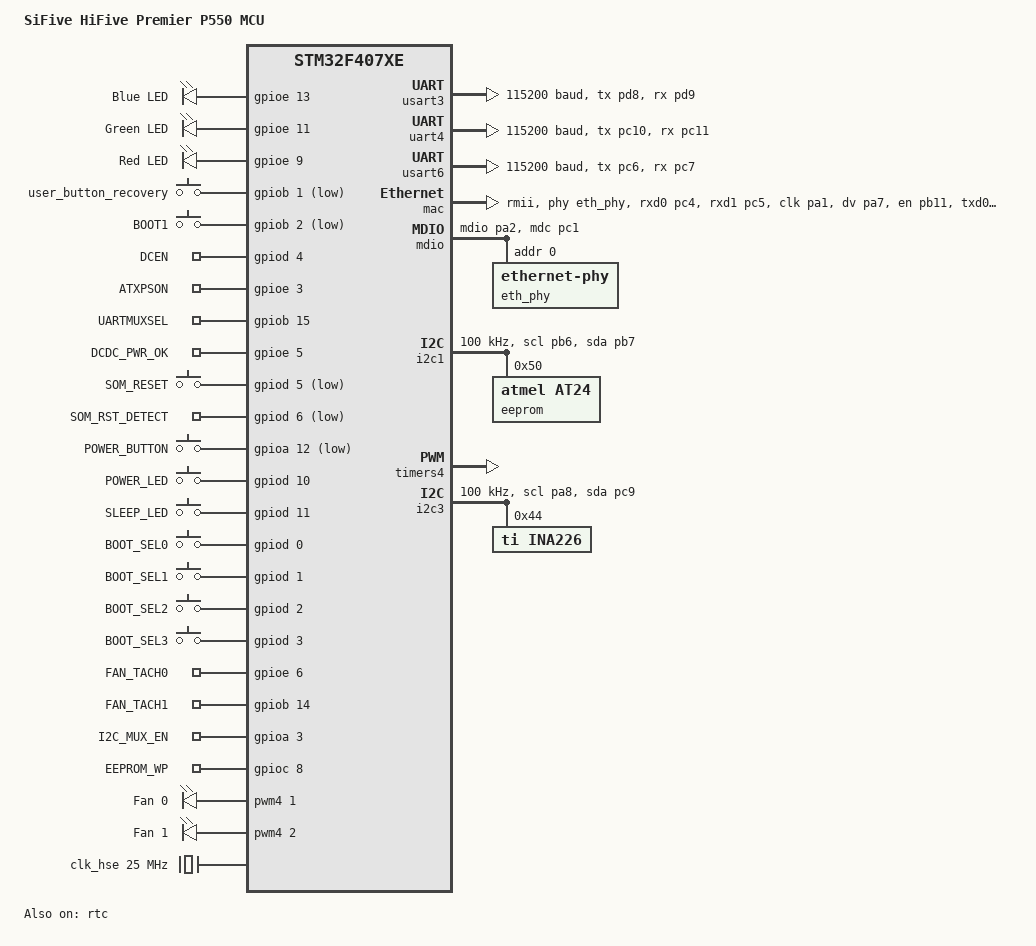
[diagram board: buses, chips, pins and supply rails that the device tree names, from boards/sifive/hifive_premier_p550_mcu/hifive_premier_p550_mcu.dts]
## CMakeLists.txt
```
# SPDX-FileCopyrightText: © 2025-2026 Tenstorrent USA, Inc.
# SPDX-License-Identifier: Apache-2.0

list(APPEND BOARD_ROOT ${CMAKE_CURRENT_SOURCE_DIR})

cmake_minimum_required(VERSION 3.20.0)
find_package(Zephyr REQUIRED HINTS $ENV{ZEPHYR_BASE})
project(wallabmc)

if(BOARD STREQUAL "qemu_cortex_m3")
	if(SYSBUILD)
		message(FATAL_ERROR "qemu_cortex_m3 must NOT be built with sysbuild (e.g., no --sysbuild argument)")
	endif()
else()
	if(NOT SYSBUILD)
		message(FATAL_ERROR "Hardware boards must be built with sysbuild (e.g., --sysbuild argument)")
	endif()
endif()

target_include_directories(app PRIVATE src)

zephyr_linker_sources(SECTIONS sections-rom.ld)
zephyr_linker_section_ifdef(CONFIG_HTTP_SERVER
  NAME http_resource_desc_web_https_service
  KVMA RAM_REGION GROUP RODATA_REGION
)
zephyr_linker_section_ifdef(CONFIG_HTTP_SERVER
  NAME http_resource_desc_web_http_service
  KVMA RAM_REGION GROUP RODATA_REGION
)

# Used for webserver resources
set(gen_dir ${ZEPHYR_BINARY_DIR}/include/generated/)

# Generate git SHA header at build time so it stays current across commits
find_program(BASH_EXECUTABLE bash)
set(git_sha_header ${gen_dir}/git_sha.h)
add_custom_target(app_git_sha ALL
	COMMAND ${CMAKE_COMMAND}
		-DBASH_EXECUTABLE=${BASH_EXECUTABLE}
		-DSOURCE_DIR=${CMAKE_CURRENT_SOURCE_DIR}
		-DOUTPUT_FILE=${git_sha_header}
		-P ${CMAKE_CURRENT_SOURCE_DIR}/cmake/gen_git_sha.cmake
	BYPRODUCTS ${git_sha_header}
	COMMENT "Generating git SHA header"
)
add_dependencies(app app_git_sha)

target_sources(app PRIVATE
	src/config.c
	src/dhcp.c
	src/main.c
	src/net.c
	src/power.c
	src/synch.c
	src/vpd.c
)

target_sources_ifdef(CONFIG_RTC app PRIVATE
	src/rtc.c
)

target_sources_ifdef(CONFIG_APP_SENSORS app PRIVATE
	src/sensors.c
)

target_sources_ifdef(CONFIG_APP_NTP app PRIVATE
	src/ntp.c
)

target_sources_ifdef(CONFIG_HTTP_SERVER app PRIVATE
	src/http.c
)

target_sources_ifdef(CONFIG_APP_WEB app PRIVATE
	src/web.c
)

target_sources_ifdef(CONFIG_JTAG app PRIVATE
	src/jtag.c
)

target_sources_ifdef(CONFIG_APP_CONSOLE_LOGGER app PRIVATE
	src/console_logger.c
)

target_sources_ifdef(CONFIG_CONSOLE_BRIDGE app PRIVATE
	src/console_bridge.c
)

target_sources_ifdef(CONFIG_APP_WEB_TERMINAL_HOST_SERIAL app PRIVATE
	src/console_bridge_ws.c
)

target_sources_ifdef(CONFIG_PERSISTENT_STORAGE app PRIVATE
	src/button.c
	src/fs.c
)

target_sources_ifdef(CONFIG_FAN_CONTROL app PRIVATE
	src/fan.c
)

target_sources_ifdef(CONFIG_POWER_MONITOR app PRIVATE
	src/power_monitor.c
)

target_sources_ifdef(CONFIG_REDFISH app PRIVATE
	src/redfish.c
)

if(CONFIG_REDFISH)
  foreach(redfish_resource
    redfish_metadata.xml
  )
    generate_inc_file_for_target(app
      static_web_resources/${redfish_resource}
      ${gen_dir}/${redfish_resource}.gz.inc
      --gzip
    )
  endforeach()
endif()

if(CONFIG_APP_WEB)
  foreach(web_resource
    index.html
  )
    generate_inc_file_for_target(app
      static_web_resources/${web_resource}
      ${gen_dir}/${web_resource}.gz.inc
      --gzip
    )
  endforeach()

  foreach(web_resource
    logo.png
    favicon.png
  )
    generate_inc_file_for_target(app
      static_web_resources/${web_resource}
      ${gen_dir}/${web_resource}.inc
    )
  endforeach()
endif()

if(CONFIG_APP_CRYPTO)
  find_program(OPENSSL_EXECUTABLE openssl)
  if(NOT OPENSSL_EXECUTABLE)
    message(FATAL_ERROR "CONFIG_APP_CRYPTO requires openssl in PATH")
  endif()
  find_program(BASH_EXECUTABLE bash)
  if(NOT BASH_EXECUTABLE)
    message(FATAL_ERROR "Unable to find bash, needed to generate certificates")
  endif()

  set(generated_certs_dir ${CMAKE_CURRENT_BINARY_DIR}/generated_certs)
  set(generated_server_cert_der ${generated_certs_dir}/server_cert.der)
  set(generated_server_privkey_der ${generated_certs_dir}/server_privkey.der)

  add_custom_command(
    OUTPUT
      ${generated_server_cert_der}
      ${generated_server_privkey_der}
    COMMAND ${CMAKE_COMMAND} -E make_directory ${generated_certs_dir}
    COMMAND ${BASH_EXECUTABLE} ${CMAKE_CURRENT_SOURCE_DIR}/src/certs/gen_ca_cert.sh ${OPENSSL_EXECUTABLE}
    COMMAND ${BASH_EXECUTABLE} ${CMAKE_CURRENT_SOURCE_DIR}/src/certs/gen_server_cert.sh ${OPENSSL_EXECUTABLE}
    WORKING_DIRECTORY ${generated_certs_dir}
    DEPENDS
      ${CMAKE_CURRENT_SOURCE_DIR}/src/certs/gen_ca_cert.sh
      ${CMAKE_CURRENT_SOURCE_DIR}/src/certs/gen_server_cert.sh
    BYPRODUCTS
      ${generated_certs_dir}/ca_cert.pem
      ${generated_certs_dir}/ca_privkey.pem
      ${generated_certs_dir}/ca.srl
      ${generated_certs_dir}/server_cert.pem
      ${generated_certs_dir}/server_privkey.pem
      ${generated_certs_dir}/server_csr.pem
      ${generated_certs_dir}/server_csr.ext
    COMMENT "Generating TLS certificates for APP_CRYPTO"
    VERBATIM
  )

  add_custom_target(app_generate_certs
    DEPENDS
      ${generated_server_cert_der}
      ${generated_server_privkey_der}
  )
  add_dependencies(app app_generate_certs)

  foreach(inc_file
    server_cert.der
    server_privkey.der
  )
    generate_inc_file_for_target(app
      ${generated_certs_dir}/${inc_file}
      ${gen_dir}/${inc_file}.inc
    )
  endforeach()
endif()

if(CONFIG_PERSISTENT_STORAGE)
  if(CONFIG_CODE_DATA_RELOCATION_SRAM AND CONFIG_SOC_FLASH_STM32)
    include(${ZEPHYR_BASE}/cmake/modules/extensions.cmake)
    FILE(GLOB flash_driver ${ZEPHYR_BASE}/drivers/flash/flash_stm32*.c)
    zephyr_code_relocate(FILES ${flash_driver} LOCATION RAM)
  else()
    message(FATAL_ERROR "flash storage handling is not defined for this platform")
  endif()
endif()
```

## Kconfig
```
# SPDX-FileCopyrightText: © 2025-2026 Tenstorrent USA, Inc.
# SPDX-License-Identifier: Apache-2.0

mainmenu "WallaBMC"

# This UUID should not be changed, it is a namespace from which
# to generate other UUIDs for WallaBMC.
config WALLABMC_UUID_NS
	string
	default "6ae4c3c7-fff0-472a-a77c-6f3f5a09ee7c"

config APP_DNS_RESOLVE
	bool
	select REQUIRES_FULL_LIBC
	select NET_SOCKETS_SERVICE
	select DNS_RESOLVER
	select NET_DHCPV4_OPTION_DNS_ADDRESS
	# If DHCP is not enabled, then need these. For now, DNS/NTP
	# requires DHCP. Could make DNS configurable.
	select DNS_SERVER_IP_ADDRESSES
	select DNS_RECONFIGURE_CLEANUP

config DNS_SERVER1
	string
	default "1.1.1.1" if APP_DNS_RESOLVE

config APP_NTP
	bool "NTP time synchronisation"
	select SNTP
	select APP_DNS_RESOLVE
	# Could these options reduce our code?
	#CONFIG_NET_CONFIG_CLOCK_SNTP_INIT=y
	#CONFIG_NET_CONFIG_CLOCK_SNTP_SET_RTC=y
	default y

config MAIN_STACK_SIZE
	int
	default 4096 if PERSISTENT_STORAGE

config APP_CRYPTO
	bool
	select NET_SOCKETS_SOCKOPT_TLS
	select MBEDTLS
	select MBEDTLS_ENABLE_HEAP
	select MBEDTLS_SSL_PROTO_TLS1_2
	select MBEDTLS_SSL_ALPN
	# XXX: Should HAVE_TIME_DATE be enabled? Test if it prevents HTTPS
	# connections if the RTC is wrong, in which case it might not be
	# feasible if we need webui to set time.
	# select MBEDTLS_HAVE_TIME_DATE if RTC

config APP_CRYPTO_TLS13
	bool
	default y
	depends on APP_CRYPTO && !APP_CRYPTO_PSK
	select MBEDTLS_SSL_PROTO_TLS1_3
        select MBEDTLS_SSL_TLS1_3_KEY_EXCHANGE_MODE_EPHEMERAL_ENABLED
	select MBEDTLS_SSL_TLS1_3_KEY_EXCHANGE_MODE_PSK_EPHEMERAL_ENABLED
	select MBEDTLS_SSL_EARLY_DATA
        select MBEDTLS_SSL_SESSION_TICKETS
	select PSA_WANT_ALG_HKDF
	select PSA_WANT_ALG_HKDF_EXTRACT
	select PSA_WANT_ALG_HKDF_EXPAND

config APP_CRYPTO_PUBLIC_KEY
	bool
	# Basic ciphers
	select MBEDTLS_CIPHERSUITE_TLS_ECDHE_ECDSA_WITH_AES_128_GCM_SHA256
	select PSA_WANT_ALG_SHA_256
	# Plus SHA384
	select PSA_WANT_ALG_SHA_384
	# Plus CHACHA20
	select PSA_WANT_ALG_CHACHA20_POLY1305
	select PSA_WANT_KEY_TYPE_CHACHA20
	# Required for websocket
	select PSA_WANT_ALG_SHA_1 if HTTP_SERVER_WEBSOCKET

# PSK can only use TLS1.2 (supporting 1.3 seems to require pulling in
# so much that it is not worthwhile).
config APP_CRYPTO_PSK
	bool
	select MBEDTLS_KEY_EXCHANGE_PSK_ENABLED # TLS1.2
	select MBEDTLS_CIPHERSUITE_TLS_PSK_WITH_AES_128_GCM_SHA256
	select MBEDTLS_KEY_EXCHANGE_RSA_PSK_ENABLED
	select MBEDTLS_RSA_C
	select MBEDTLS_PKCS1_V15
	select PSA_WANT_KEY_TYPE_RSA_KEY_PAIR_IMPORT
	select PSA_WANT_KEY_TYPE_RSA_KEY_PAIR_EXPORT
	select PSA_WANT_KEY_TYPE_RSA_KEY_PAIR_GENERATE

config APP_CRYPTO_DEBUG
	bool "crypto debug"
	default n
	select MBEDTLS_DEBUG
	select MBEDTLS_MEMORY_DEBUG
	select NET_SOCKETS_TLS_LOG_LEVEL_DBG

config MBEDTLS_DEBUG_LEVEL
	int
	depends on APP_CRYPTO_DEBUG
	default 1

config MBEDTLS_HEAP_SIZE
	int
	depends on APP_CRYPTO
	default 49152

config NET_PKT_RX_COUNT
	int
	depends on APP_CRYPTO
	default 32

config NET_PKT_TX_COUNT
	int
	depends on APP_CRYPTO
	default 32

config NET_BUF_RX_COUNT
	int
	default 96 if APP_CRYPTO
	default 64

config NET_BUF_TX_COUNT
	int
	default 96 if APP_CRYPTO
	default 64

config NET_SOCKETS_TLS_MAX_CONTEXTS
	int
	depends on APP_CRYPTO
	default 6

# The Kconfig comments for this option say TLS standards require
# 16k size, but this requires several 16K allocations each for
# send and recv on the heap so it's too large. Apparently browsers
# negotiate smaller sizes, so 1500 should be okay there. Redfish
# and curl with auth headers seem to require more (4096 works).
# may require more?
config MBEDTLS_SSL_MAX_CONTENT_LEN
	int
	depends on APP_CRYPTO
	default 4096

config APP_HTTPS
	bool "HTTPS support for web and redfish"
	default y
	depends on REDFISH || APP_WEB
	select HTTP_SERVER_TLS_USE_ALPN
	select APP_CRYPTO

config APP_HTTPS_PUBLIC_KEY
	bool "HTTPS public key support"
	default y
	depends on APP_HTTPS
	select APP_CRYPTO_PUBLIC_KEY

config APP_HTTPS_PSK
	bool "HTTPS PSK support"
	default n
	depends on APP_HTTPS
	select APP_CRYPTO_PSK

config APP_BMC_UUID
	bool "BMC UUID based on HWINFO device ID"
	select MBEDTLS
	select MBEDTLS_PSA_CRYPTO_C
	select PSA_WANT_ALG_SHA_1
	select UUID
	select UUID_V5
	select HWINFO

config APP_SENSORS
	bool "BMC Sensors (temperature)"
	select SENSOR
	select ADC

config REDFISH
	bool "Redfish server"
	default y
	select HTTP_SERVER
	select HTTP_SERVER_CAPTURE_HEADERS
	select JSON_LIBRARY
	select APP_BMC_UUID
	select BASE64

if REDFISH

config REDFISH_SYSTEM_PRODUCT_NAME
	string "Redfish system product / board display name"
	default "WallaBMC Board"
	help
	  Shown as System Name in Redfish and in the dashboard System Overview.

config REDFISH_SYSTEM_MANUFACTURER
	string "Redfish system manufacturer"
	default "WallaBMC"

config REDFISH_SYSTEM_MODEL
	string "Redfish system model"
	default "Generic"

config REDFISH_SYSTEM_PROCESSOR_MODEL
	string "Redfish processor summary model"
	default "N/A"

config REDFISH_SYSTEM_PROCESSOR_COUNT
	int "Redfish processor summary count"
	default 1

config REDFISH_SYSTEM_MEMORY_GIB
	int "Redfish memory summary total (GiB)"
	default 0
	help
	  Total system memory in GiB for Redfish MemorySummary. 0 shows as N/A.

config HTTP_SERVER_MAX_HEADER_LEN
	int
	default 48 # Basic auth header + 15 character password is 34 characters

endif # REDFISH

config HTTP_SERVER_NUM_SERVICES
	int
	default 2 if APP_HTTPS # default 1 (listen on just 80)

config HTTP_SERVER_MAX_CLIENTS
	int
	default 8 if APP_WEB

config APP_WEB
	bool "Web server"
	default y
	select HTTP_SERVER
	select REDFISH

config APP_WEB_TERMINAL
	bool "Websocket consoles and webui terminal emulator"
	default y
	select APP_WEB
	select HTTP_SERVER_WEBSOCKET
	# WS auth protocol requires these hashes
	select BASE64
	select MBEDTLS_SHA1

config APP_WEB_TERMINAL_BMC_SHELL
	bool "Zephyr shell websocket and webui terminal"
	default y
	depends on APP_WEB_TERMINAL
	select SHELL
	select SHELL_BACKEND_WEBSOCKET
	select LOG_BACKEND_WS
	select LOG_BACKEND_WS_AUTOSTART

config APP_WEB_TERMINAL_HOST_SERIAL
	bool "Host serial websocket and webui terminal"
	default y
	select APP_CONSOLE_LOGGER
	depends on APP_WEB_TERMINAL

if APP_WEB_TERMINAL_HOST_SERIAL
config CONSOLE_BRIDGE_WS_STACK_SIZE
	int
	default 4096 if APP_HTTPS
	default 2048

config CONSOLE_BRIDGE_WS_PRIORITY
	int
	default 5
endif

config SHELL_WEBSOCKET_ENDPOINT_URL
	string
	depends on SHELL_BACKEND_WEBSOCKET
	default "console/bmc"

config DEFAULT_ADMIN_PASSWORD
	string "Default admin password"
	default "$(shell,openssl rand -base64 12 | head -c 15)"

config SYSTEM_WORKQUEUE_STACK_SIZE
	int
	depends on HTTP_SERVER_WEBSOCKET
	default 2560 if APP_HTTPS
	default 1536

# WS log backend uses lot of stack
config LOG_PROCESS_THREAD_STACK_SIZE
	int
	depends on LOG_BACKEND_WS
	default 2560

config NET_TCP_MAX_RECV_WINDOW_SIZE
	int
	default 20480

# Increase retry and timeout limits
config NET_TCP_INIT_RETRANSMISSION_TIMEOUT
	int
	default 500

config NET_TCP_RETRY_COUNT
	int
	default 10

config SHELL_STACK_SIZE
	int
	depends on SHELL_BACKEND_WEBSOCKET
	default 3072

config HTTP_SERVER_STACK_SIZE
	int
	depends on LOG_BACKEND_WS
	default 4096

config NET_SOCKETS_SERVICE_STACK_SIZE
	int
	default 3072 if APP_CRYPTO
	default 1536

config NET_MAX_CONTEXTS
	int
	depends on HTTP_SERVER
	default 12

config NET_MAX_CONN
	int
	depends on HTTP_SERVER
	default 16

config ZVFS_EVENTFD_MAX
	int
	depends on HTTP_SERVER
	default 4

config ZVFS_POLL_MAX
	int
	depends on HTTP_SERVER
	default 8

config PERSISTENT_STORAGE
	bool "Persistent storage for config"
	default n
	# Enable Flash and Flash Map to access memory
	select FLASH
	select FLASH_MAP
	# select FLASH_SHELL if SHELL # ~4kB flash
	# Writing internal flash that is used for XIP requires
	# that the flash driver is relocated into RAM.
	select CODE_DATA_RELOCATION_SRAM
	# XXX: May need to enable these, or disable IRQs in the flash
	# erase and program functions while flash is being written.
	# select SRAM_VECTOR_TABLE
	# select SRAM_SW_ISR_TABLE
	# select DEVICE_MUTABLE
	# Enable NVS key-value system
	select NVS
	select NVS_INIT_BAD_MEMORY_REGION # Do not require erased flash

config REBOOT
	bool
	default y

config POWEROFF
	bool
	default y if HAS_POWEROFF

config JTAG
	bool "JTAG support"
	depends on $(dt_path_enabled,/jtag)
	default y

if JTAG

config JTAG_DAEMON_STACK_SIZE
	int "JTAG daemon stack size"
	default 1024

config JTAG_DAEMON_PRIORITY
	int "JTAG daemon priority"
	default 5

endif

# use `kernel thread stack` shell command
config APP_STACK_DEBUG
	bool
	default n
	select THREAD_NAME
	select THREAD_ANALYZER
	select THREAD_ANALYZER_RUN_UNLOCKED

config APP_CONSOLE_LOGGER
	bool "Console logger (capture host console uart)"
	default y
	select SERIAL
	select SERIAL_SUPPORT_ASYNC
	select UART_ASYNC_API

if APP_CONSOLE_LOGGER
config APP_CONSOLE_LOG_SIZE
	int "Console log size"
	range 64 65536
	default 2048
endif

config CONSOLE_BRIDGE
	bool "Console bridge (host console to TCP port 22)"
	default y
	depends on APP_CONSOLE_LOGGER

if CONSOLE_BRIDGE

config CONSOLE_BRIDGE_STACK_SIZE
	int "Console bridge daemon stack size"
	default 1024

config CONSOLE_BRIDGE_PRIORITY
	int "Console bridge daemon priority"
	default 5

endif

menu "Hardware management"

rsource "src/Kconfig.power"
rsource "src/Kconfig.fan"

endmenu

source "Kconfig.zephyr"
```

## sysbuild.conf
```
SB_CONFIG_BOOTLOADER_MCUBOOT=y
SB_CONFIG_MCUBOOT_MODE_SINGLE_APP=y
```

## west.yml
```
manifest:
  remotes:
    - name: zephyr
      url-base: https://github.com/zephyrproject-rtos

  projects:
    - name: zephyr
      remote: zephyr
      revision: v4.4.1
      import: true

  self:
    path: wallabmc
```

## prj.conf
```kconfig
# Respect flash partition layout
CONFIG_USE_DT_CODE_PARTITION=y

# Kernel options
CONFIG_BOOT_BANNER=n # Do our own banner
CONFIG_EARLY_CONSOLE=y
CONFIG_INIT_STACKS=y

CONFIG_POSIX_API=y

# Net debug
#CONFIG_NET_SOCKETS_LOG_LEVEL_DBG=y
#CONFIG_SNTP_LOG_LEVEL_DBG=y
#CONFIG_NET_LOG=y

CONFIG_RTC=y

# Logging
CONFIG_LOG=y
#CONFIG_LOG_DEFAULT_LEVEL=0
CONFIG_LOG_PRINTK=n
# CONFIG_NET_LOG=y # ~10kB flash
CONFIG_PHY_LOG_LEVEL_WRN=y

# Generic networking options
CONFIG_NETWORKING=y
CONFIG_NET_IPV4=y
CONFIG_NET_IPV6=n
CONFIG_NET_ARP=y
CONFIG_NET_UDP=y
CONFIG_NET_TCP=y

# IP address options
# 2 addresses so we can have a DHCP and an overridable static */
CONFIG_NET_CONFIG_AUTO_INIT=n
CONFIG_NET_IF_UNICAST_IPV4_ADDR_COUNT=2
CONFIG_NET_DHCPV4=y
CONFIG_NET_DHCPV4_OPTION_CALLBACKS=y
#CONFIG_DNS_RESOLVER=y # This makes telnet console hang?
# Hostname will be registered with DHCP so if the network supports it,
# it will be the DNS name too. UNIQUE=y appends a random UUID to the
# end of HOSTNAME, you will need to watch the console to get this, or
# give yourself a unique hostname.
CONFIG_NET_CONFIG_SETTINGS=y
CONFIG_NET_HOSTNAME_ENABLE=y
CONFIG_NET_HOSTNAME="wallabmc"
# Don't want to append a unique string because that makes it hard to
# find.
#CONFIG_NET_HOSTNAME_UNIQUE=y
# default / no-DHCP IP address
#CONFIG_NET_CONFIG_MY_IPV4_ADDR="192.168.2.55"

# `date set` does not set the RTC which would be confusing, so
# disable it. We supply `bmc time` commands.
CONFIG_DATE_SHELL=n
# local/network shell
CONFIG_KERNEL_SHELL=n # ~5kB flash
#CONFIG_SHELL_TAB=y
#CONFIG_NET_SHELL=y # ~40kB flash

# GPIO options
CONFIG_GPIO=y

### Storage ###
CONFIG_PERSISTENT_STORAGE=y

# Websocket default prompt (does not enable anything on it's own)
CONFIG_SHELL_WEBSOCKET_PROMPT="bmc:~$ "
```

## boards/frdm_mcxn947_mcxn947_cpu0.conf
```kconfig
# Gentoo mode
CONFIG_SPEED_OPTIMIZATIONS=y

# TODO: no board-specific persistent storage backend yet (internal flash
# self-write requires driver relocation like the STM32 port has, or NVS
# could target the external W25Q64 QSPI NOR flash instead). Disabled for
# now; config.c/fs.c already fall back cleanly when this is off.
CONFIG_PERSISTENT_STORAGE=n

# Redfish system overview (board-specific)
CONFIG_REDFISH_SYSTEM_PRODUCT_NAME="FRDM-MCXN947"
CONFIG_REDFISH_SYSTEM_MANUFACTURER="NXP"
CONFIG_REDFISH_SYSTEM_MODEL="FRDM-MCXN947"
CONFIG_REDFISH_SYSTEM_PROCESSOR_MODEL="NXP MCX N947 (dual Cortex-M33)"
CONFIG_REDFISH_SYSTEM_PROCESSOR_COUNT=1
CONFIG_REDFISH_SYSTEM_MEMORY_GIB=0
```

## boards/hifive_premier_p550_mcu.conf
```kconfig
CONFIG_APP_HTTPS=n
CONFIG_EEPROM=y
CONFIG_SENSOR=y

# Redfish system overview (board-specific)
CONFIG_REDFISH_SYSTEM_PRODUCT_NAME="HiFive Premier P550"
CONFIG_REDFISH_SYSTEM_MANUFACTURER="SiFive"
CONFIG_REDFISH_SYSTEM_MODEL="HiFive Premier P550"
CONFIG_REDFISH_SYSTEM_PROCESSOR_MODEL="SiFive P550"
CONFIG_REDFISH_SYSTEM_PROCESSOR_COUNT=8
CONFIG_REDFISH_SYSTEM_MEMORY_GIB=16
```

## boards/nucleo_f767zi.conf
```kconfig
# Gentoo mode
CONFIG_SPEED_OPTIMIZATIONS=y

CONFIG_NOCACHE_MEMORY=y

CONFIG_APP_SENSORS=y
```

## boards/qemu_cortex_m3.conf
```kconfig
# CI tests require telnet shell
CONFIG_SHELL_BACKEND_TELNET=y
CONFIG_SHELL_TELNET_SUPPORT_COMMAND=y
CONFIG_APP_NTP=n
CONFIG_RTC=n
CONFIG_APP_CONSOLE_LOGGER=n
CONFIG_REDFISH=n
CONFIG_APP_WEB=n
CONFIG_APP_WEB_TERMINAL=n
CONFIG_PERSISTENT_STORAGE=n
CONFIG_TEST_RANDOM_GENERATOR=y
CONFIG_TEST_CSPRNG_GENERATOR=y
CONFIG_NET_IF_MAX_IPV4_COUNT=2
CONFIG_NET_IF_MAX_IPV6_COUNT=2
CONFIG_SHELL=y
CONFIG_CONSOLE_BRIDGE=n
```

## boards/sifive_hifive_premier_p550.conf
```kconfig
CONFIG_REDFISH=n
CONFIG_SHELL_BACKEND_TELNET=n
CONFIG_SHELL_TELNET_SUPPORT_COMMAND=n
```

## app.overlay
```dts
// Nucleo F767ZI
/ {
    jtag {
        // What is a better setting for this?
        compatible = "gpio-leds";

        jtagtck: jtag_tck {
            gpios = <&gpioe  2 GPIO_ACTIVE_HIGH>;
        };
        jtagtms: jtag_tms {
            gpios = <&gpioe  3 GPIO_ACTIVE_HIGH>;
        };
        jtagtdo: jtag_tdo {
            gpios = <&gpioe  5     GPIO_PULL_UP>;
        };
        jtagtdi: jtag_tdi {
            gpios = <&gpioe  6 GPIO_ACTIVE_HIGH>;
        };
    };

    aliases {
        jtagtck = &jtagtck;
        jtagtms = &jtagtms;
        jtagtdi = &jtagtdi;
        jtagtdo = &jtagtdo;
    };

};

&spi4 {
     status = "disabled";
};
```

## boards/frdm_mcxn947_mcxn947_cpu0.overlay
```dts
// NXP FRDM-MCXN947

/ {
	chosen {
		zephyr,rtc = &rtc;
	};

	aliases {
		status-led = &blue_led;
		power-gpio-1 = &green_led;
		reset-gpio-1 = &red_led;
		reset-button = &user_button_2;

		/*
		 * No physical "host" is wired to this devkit. Route the
		 * host console bridge to the Arduino-header UART
		 * (flexcomm2_lpuart2 / D0-D1) so it's available if a real
		 * host's serial console is wired up later.
		 */
		host-console-uart = &flexcomm2_lpuart2;
	};
};

&red_led {
	status = "okay";
};

&green_led {
	status = "okay";
};

&blue_led {
	status = "okay";
};

&user_button_2 {
	status = "okay";
};

&rtc {
	status = "okay";
};

&flexcomm2_lpuart2 {
	status = "okay";
};

/* On-board LAN8741 PHY + RJ45 (disabled by default in the base board dts) */
&enet_mdio {
	status = "okay";
};

&phy {
	status = "okay";
};

&enet_mac {
	status = "okay";
};
```

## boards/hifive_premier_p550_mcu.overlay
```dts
// hifive premier p550 mcu
/ {
    chosen {
        zephyr,entropy = &rng;
        zephyr,flash-controller = &flash;
        zephyr,sram = &sram0;
        zephyr,flash = &flash0;
        zephyr,code-partition = &slot0_partition;
    };

    jtag {
        // What is a better setting for this?
        compatible = "gpio-leds";

        // not connected for now
        jtagtck: jtag_tck {
            gpios = <&gpioe  0 GPIO_ACTIVE_HIGH>;
        };
        jtagtms: jtag_tms {
            gpios = <&gpioe  1 GPIO_ACTIVE_HIGH>;
        };
        jtagtdo: jtag_tdo {
            gpios = <&gpioe  2     GPIO_PULL_UP>;
        };
        jtagtdi: jtag_tdi {
            gpios = <&gpioe  4 GPIO_ACTIVE_HIGH>;
        };
    };

    aliases {
        jtagtck = &jtagtck;
        jtagtms = &jtagtms;
        jtagtdi = &jtagtdi;
        jtagtdo = &jtagtdo;

        power-gpio-1 = &dcen;
        power-gpio-2 = &atxpson;
        status-led = &blue_led;
        reset-gpio = &som_reset;
        power-good = &pwrok;
        power-button = &power_button;
        power-led = &pwr_led;
        sleep-led = &slp_led;

        fan-tach-0 = &fan_tach0;
        fan-tach-1 = &fan_tach1;

        host-console-uart = &usart6;
        host-console-uart-muxsel = &uartmuxsel;
        reset-button = &user_button_recovery;

        bootsel-0 = &bootsel0;
        bootsel-1 = &bootsel1;
        bootsel-2 = &bootsel2;
        bootsel-3 = &bootsel3;

        i2c-mux-en = &i2c_mux_en;
        eeprom-wp = &eeprom_wp;
    };

};

&spi4 {
    status = "disabled";
};

&rng {
    status = "okay";
};

&flash0 {
    partitions {
        compatible = "fixed-partitions";
        #address-cells = <1>;
        #size-cells = <1>;

        /* Sectors 0-1 (2*16 kbytes) for mcuboot */
        boot_partition: partition@0 {
            label = "mcuboot";
            reg = <0x00000000 DT_SIZE_K(32)>;
        };

        /* 2-3 (2*16 kbytes) for app storage, enough for NVS storage */
        storage_partition: partition@8000 {
            label = "storage";
            reg = <0x00008000 DT_SIZE_K(32)>;
        };

        /* 4-7 (64 + 3*128 kbytes) are for the application image */
        slot0_partition: partition@10000 {
            label = "image-0";
            reg = <0x00010000 DT_SIZE_K(448)>;
        };
    };
};
```

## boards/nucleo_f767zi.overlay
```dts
/delete-node/ &quadspi_memory;

// Nucleo F767ZI
/ {
    chosen {
        zephyr,rtc = &rtc;
    };

    jtag {
        // What is a better setting for this?
        compatible = "gpio-leds";

        jtagtck: jtag_tck {
            gpios = <&gpioe  2 GPIO_ACTIVE_HIGH>;
        };
        jtagtms: jtag_tms {
            gpios = <&gpioe  3 GPIO_ACTIVE_HIGH>;
        };
        jtagtdo: jtag_tdo {
            gpios = <&gpioe  5     GPIO_PULL_UP>;
        };
        jtagtdi: jtag_tdi {
            gpios = <&gpioe  6 GPIO_ACTIVE_HIGH>;
        };
    };

    // Zephyr configures ACTIVE_LOW by default, which reads 0 when the
    // button is pressed and 1 when it is released. Flip to 1 on press.
    gpio_keys {
        compatible = "gpio-keys";

        user_button: button_0 {
            label = "User";
            gpios = <&gpioc 13 GPIO_ACTIVE_HIGH>;
            zephyr,code = <INPUT_KEY_0>;
        };
    };

    aliases {
        jtagtck = &jtagtck;
        jtagtms = &jtagtms;
        jtagtdi = &jtagtdi;
        jtagtdo = &jtagtdo;

        power-gpio-1 = &green_led;
        reset-gpio-1 = &red_led;
        status-led = &blue_led;

        reset-button = &user_button;
	host-console-uart = &usart6;
    };
};

&spi4 {
     status = "disabled";
};

&dma2 {
    status = "okay";
};

&die_temp {
    status = "okay";
};

&usart6 {
	current-speed = <115200>;
	status = "okay";
	dmas = <&dma2 6 5 STM32_DMA_PERIPH_TX STM32_DMA_FIFO_FULL>,
	       <&dma2 1 5 STM32_DMA_PERIPH_RX STM32_DMA_FIFO_FULL>;
	dma-names = "tx", "rx";
	fifo-enable;
};

/delete-node/ &boot_partition;
/delete-node/ &storage_partition;
/delete-node/ &slot0_partition;
/delete-node/ &slot1_partition;
/delete-node/ &scratch_partition;

&flash0 {
    partitions {
        compatible = "fixed-partitions";
        #address-cells = <1>;
        #size-cells = <1>;

        boot_partition: partition@0 {
            label = "mcuboot";
            reg = <0x00000000 DT_SIZE_K(32)>;
        };

        /* 3*32KB, enough for NVS storage */
        storage_partition: partition@8000 {
            label = "storage";
            reg = <0x00008000 DT_SIZE_K(96)>;
        };

        slot0_partition: partition@20000 {
            label = "image-0";
            reg = <0x00020000 DT_SIZE_K(1024)>;
        };
    };
};
```

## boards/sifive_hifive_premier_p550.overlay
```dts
// sifive hifive premier p550
/ {
    jtag {
        // What is a better setting for this?
        compatible = "gpio-leds";
        
        // not connected for now
        jtagtck: jtag_tck {
            gpios = <&gpioe  0 GPIO_ACTIVE_HIGH>;
        };
        jtagtms: jtag_tms {
            gpios = <&gpioe  1 GPIO_ACTIVE_HIGH>;
        };
        jtagtdo: jtag_tdo {
            gpios = <&gpioe  2     GPIO_PULL_UP>;
        };
        jtagtdi: jtag_tdi {
            gpios = <&gpioe  4 GPIO_ACTIVE_HIGH>;
        };
    };

    aliases {
        jtagtck = &jtagtck;
        jtagtms = &jtagtms;
        jtagtdi = &jtagtdi;
        jtagtdo = &jtagtdo;

        power-gpio-1 = &dcen;
        power-gpio-2 = &atxpson;
        status-led = &blue_led;
    };

};

&spi4 {
     status = "disabled";
};

&rng {
    status = "okay";
};
```

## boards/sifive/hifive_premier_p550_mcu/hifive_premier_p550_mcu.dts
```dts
/*
 * SPDX-FileCopyrightText: © 2025-2026 Tenstorrent USA, Inc.
 * SPDX-License-Identifier: Apache-2.0
 */

/dts-v1/;
#include <st/f4/stm32f407Xe.dtsi>
#include <st/f4/stm32f407v(e-g)tx-pinctrl.dtsi>
#include <zephyr/dt-bindings/input/input-event-codes.h>
#include <zephyr/dt-bindings/pwm/pwm.h>

/ {
	model = "SiFive HiFive Premier P550 MCU";
	compatible = "sifive,hifive-premier-p550-mcu";

	chosen {
		zephyr,console = &usart3;
		zephyr,shell-uart = &usart3;
		zephyr,sram = &sram0;
		zephyr,flash = &flash0;
		zephyr,ccm = &ccm0;
	};

	leds {
		compatible = "gpio-leds";

		blue_led: led0 {
			gpios = <&gpioe 13 GPIO_ACTIVE_HIGH>;
			label = "Blue LED";
		};

		green_led: led1 {
			gpios = <&gpioe 11 GPIO_ACTIVE_HIGH>;
			label = "Green LED";
		};

		red_led: led2 {
			gpios = <&gpioe 9 GPIO_ACTIVE_HIGH>;
			label = "Red LED";
		};
	};

	gpio_keys {
		compatible = "gpio-keys";

		user_button_recovery: K_REC {
			gpios = <&gpiob 1 GPIO_ACTIVE_LOW>;
		};

		boot1: boot1 {
			gpios = <&gpiob 2 GPIO_ACTIVE_LOW>;
			label = "BOOT1";
		};

		dcen: dcen {
			gpios = <&gpiod 4 GPIO_ACTIVE_HIGH>;
			label = "DCEN";
		};
		atxpson: atxpson {
			gpios = <&gpioe 3 GPIO_ACTIVE_HIGH>;
			label = "ATXPSON";
		};
		uartmuxsel: uartmuxsel {
			gpios = <&gpiob 15 GPIO_ACTIVE_HIGH>;
			label = "UARTMUXSEL";
		};
		pwrok: pwrok {
			gpios = <&gpioe 5 GPIO_ACTIVE_HIGH>;
			label = "DCDC_PWR_OK";
		};
		som_reset: som_reset {
			gpios = <&gpiod 5 GPIO_ACTIVE_LOW>;
			label = "SOM_RESET";
		};
		som_rst_detect: som_rst_detect {
			gpios = <&gpiod 6 GPIO_ACTIVE_LOW>;
			label = "SOM_RST_DETECT";
		};
		power_button: power_button {
			gpios = <&gpioa 12 GPIO_ACTIVE_LOW>;
			label = "POWER_BUTTON";
		};
		pwr_led: pwr_led_key {
			gpios = <&gpiod 10 GPIO_ACTIVE_HIGH>;
			label = "POWER_LED";
		};
		slp_led: slp_led_key {
			gpios = <&gpiod 11 GPIO_ACTIVE_HIGH>;
			label = "SLEEP_LED";
		};
		bootsel0: bootsel0 {
			gpios = <&gpiod 0 GPIO_ACTIVE_HIGH>;
			label = "BOOT_SEL0";
		};
		bootsel1: bootsel1 {
			gpios = <&gpiod 1 GPIO_ACTIVE_HIGH>;
			label = "BOOT_SEL1";
		};
		bootsel2: bootsel2 {
			gpios = <&gpiod 2 GPIO_ACTIVE_HIGH>;
			label = "BOOT_SEL2";
		};
		bootsel3: bootsel3 {
			gpios = <&gpiod 3 GPIO_ACTIVE_HIGH>;
			label = "BOOT_SEL3";
		};
		fan_tach0: fan_tach0 {
			gpios = <&gpioe 6 GPIO_ACTIVE_HIGH>;
			label = "FAN_TACH0";
		};
		fan_tach1: fan_tach1 {
			gpios = <&gpiob 14 GPIO_ACTIVE_HIGH>;
			label = "FAN_TACH1";
		};
		i2c_mux_en: i2c_mux_en {
			gpios = <&gpioa 3 GPIO_ACTIVE_HIGH>;
			label = "I2C_MUX_EN";
		};
		eeprom_wp: eeprom_wp {
			gpios = <&gpioc 8 GPIO_ACTIVE_HIGH>;
			label = "EEPROM_WP";
		};
	};


	fans {
		compatible = "pwm-leds";

		fan0: fan_0 {
			pwms = <&pwm4 1 40000 PWM_POLARITY_INVERTED>;
			label = "Fan 0";
		};

		fan1: fan_1 {
			pwms = <&pwm4 2 40000 PWM_POLARITY_INVERTED>;
			label = "Fan 1";
		};
	};

	aliases {
		led0 = &red_led;
		led1 = &green_led;
		led2 = &blue_led;
		sw0 = &user_button_recovery;
		boot1 = &boot1;
		dcen = &dcen;
		atxpson = &atxpson;
		reset-gpio-1 = &som_reset;
	};
};

&clk_lsi {
	status = "okay";
};

&clk_hse {
	clock-frequency = <DT_FREQ_M(25)>;
	status = "okay";
};

&pll {
	div-m = <25>;
	mul-n = <336>;
	div-p = <2>;
	div-q = <7>;
	clocks = <&clk_hse>;
	status = "okay";
};

&rcc {
	clocks = <&pll>;
	clock-frequency = <DT_FREQ_M(168)>;
	ahb-prescaler = <1>;
	apb1-prescaler = <4>;
	apb2-prescaler = <2>;
};

&usart3 {
	pinctrl-0 = <&usart3_tx_pd8 &usart3_rx_pd9>;
	pinctrl-names = "default";
	current-speed = <115200>;
	status = "okay";
};

&uart4 {
	pinctrl-0 = <&uart4_tx_pc10 &uart4_rx_pc11>;
	pinctrl-names = "default";
	current-speed = <115200>;
	status = "okay";
};

&usart6 {
	pinctrl-0 = <&usart6_tx_pc6 &usart6_rx_pc7>;
	pinctrl-names = "default";
	current-speed = <115200>;
	status = "okay";
	dmas = <&dma2 6 5 STM32_DMA_PERIPH_TX STM32_DMA_FIFO_FULL>,
	       <&dma2 1 5 STM32_DMA_PERIPH_RX STM32_DMA_FIFO_FULL>;
	dma-names = "tx", "rx";
	fifo-enable;
};

&dma2 {
	status = "okay";
};

&rtc {
	clocks = <&rcc STM32_CLOCK(APB1, 28)>,
		 <&rcc STM32_SRC_LSI RTC_SEL(2)>;
	status = "okay";
};

&mac {
	status = "okay";
	pinctrl-0 = <&eth_rxd0_pc4
		     &eth_rxd1_pc5
		     &eth_ref_clk_pa1
		     &eth_crs_dv_pa7
		     &eth_tx_en_pb11
		     &eth_txd0_pb12
		     &eth_txd1_pb13>;
	pinctrl-names = "default";
	phy-connection-type = "rmii";
	phy-handle = <&eth_phy>;
};

&mdio {
	status = "okay";
	pinctrl-0 = <&eth_mdio_pa2 &eth_mdc_pc1>;
	pinctrl-names = "default";

	eth_phy: ethernet-phy@0 {
		compatible = "ethernet-phy";
		reg = <0x00>;
	};
};

&i2c1 {
	pinctrl-0 = <&i2c1_scl_pb6 &i2c1_sda_pb7>;
	pinctrl-names = "default";
	status = "okay";
	clock-frequency = <I2C_BITRATE_STANDARD>;

	eeprom: eeprom@50 {
		compatible = "atmel,at24";
		reg = <0x50>;
		size = <256>;
		pagesize = <8>;
		address-width = <8>;
		timeout = <5>;
		zephyr,deferred-init;
	};
};

&timers4 {
	status = "okay";
	pwm4: pwm {
		status = "okay";
		pinctrl-0 = <&tim4_ch1_pd12 &tim4_ch2_pd13>;
		pinctrl-names = "default";
	};
};

&i2c3 {
	pinctrl-0 = <&i2c3_scl_pa8 &i2c3_sda_pc9>;
	pinctrl-names = "default";
	status = "okay";
	clock-frequency = <I2C_BITRATE_STANDARD>;

	ina226: ina226@44 {
		compatible = "ti,ina226";
		reg = <0x44>;
		rshunt-micro-ohms = <1000>;
		current-lsb-microamps = <1000>;
		zephyr,deferred-init;
	};
};
```

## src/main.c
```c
/*
 * SPDX-FileCopyrightText: © 2025-2026 Tenstorrent USA, Inc.
 * SPDX-License-Identifier: Apache-2.0
 */

#include <zephyr/logging/log.h>
#include <zephyr/logging/log_ctrl.h>
LOG_MODULE_REGISTER(wallabmc, LOG_LEVEL_INF);

#include <zephyr/kernel.h>
#include <zephyr/sys/reboot.h>
#include <zephyr/sys/poweroff.h>
#include <zephyr/shell/shell.h>

#include "fs.h"
#include "config.h"
#include "button.h"
#include "net.h"
#include "http.h"
#include "power.h"
#include "rtc.h"
#include "sensors.h"
#include "jtag.h"
#include "console_logger.h"
#include "console_bridge.h"
#include "console_bridge_ws.h"
#include "vpd.h"
#include "git_sha.h"
#include "fan.h"

static bool boot_finished = false;

bool is_boot_finished(void)
{
	return boot_finished;
}

static void print_banner(void)
{
	int pad = 20;

	printk("\n");
	printk("%*s    +---------------------+\n", pad, "");
	printk("%*s    | Welcome to WallaBMC |\n", pad, "");
	printk("%*s    +---------------------+\n", pad, "");
	printk("%*s                 \\\n", pad, "");
	printk("%*s                   \\     /)\n", pad, "");
	printk("%*s                      <.' \\_\n", pad, "");
	printk("%*s                        / ( )\\\n", pad, "");
	printk("%*s                        __|/  \\__\n", pad, "");
	printk("%*s.,.,.,,,..,,.,.,.,.,..,,.,.,.,,.,..,,.,.,.,.\n", pad, "");

	LOG_INF("Project build: %s", PROJECT_GIT_SHA);
	LOG_INF("Zephyr OS build: %s", BANNER_VERSION);
#if defined(CONFIG_REDFISH)
	LOG_INF("Board: %s", CONFIG_REDFISH_SYSTEM_PRODUCT_NAME);
	LOG_INF("System: %s %s (CPU: %s x%d, Memory: %d GiB)",
		CONFIG_REDFISH_SYSTEM_MANUFACTURER,
		CONFIG_REDFISH_SYSTEM_MODEL,
		CONFIG_REDFISH_SYSTEM_PROCESSOR_MODEL,
		CONFIG_REDFISH_SYSTEM_PROCESSOR_COUNT,
		CONFIG_REDFISH_SYSTEM_MEMORY_GIB);
#endif
}

FUNC_NORETURN int bmc_reboot(void)
{
	fs_exit();

	LOG_WRN("Rebooting BMC");
	/* log_panic() appears to be needed in order to get the logs out. */
	log_panic();
	k_msleep(100);

	/*
	 * It is said that not all platforms support all reboot types.
	 * Not sure the best way to do this, but try a warm reboot first,
	 * then cold.
	 */
	sys_reboot(SYS_REBOOT_WARM);
	sys_reboot(SYS_REBOOT_COLD);
	k_panic();
	for (;;);
}

static FUNC_NORETURN int bmc_poweroff(void)
{
	fs_exit();

	LOG_WRN("Poweroff BMC");
	/* log_panic() appears to be needed in order to get the logs out. */
	log_panic();
	k_msleep(100);

#ifdef CONFIG_POWEROFF
	sys_poweroff();
	k_panic();
#endif
	for (;;);
}

static int cmd_bmc_reboot(const struct shell *sh, size_t argc, char **argv)
{
	ARG_UNUSED(argc);
	ARG_UNUSED(argv);
	bmc_reboot();
	return 0;
}

static int cmd_bmc_poweroff(const struct shell *sh, size_t argc, char **argv)
{
	ARG_UNUSED(argc);
	ARG_UNUSED(argv);
	bmc_poweroff();
	return 0;
}

SHELL_STATIC_SUBCMD_SET_CREATE(sub_bmc_cmds,
	SHELL_CMD(reboot,	NULL, "Reboot BMC.", cmd_bmc_reboot),
	SHELL_CMD(poweroff,	NULL, "Power off BMC.", cmd_bmc_poweroff),
	SHELL_SUBCMD_SET_END
);

SHELL_CMD_REGISTER(bmc, &sub_bmc_cmds, "BMC system commands", NULL);

static int cmd_hop(const struct shell *sh, size_t argc, char **argv)
{
	ARG_UNUSED(argc);
	ARG_UNUSED(argv);

	/* Wallaby on ground */
	const char *wallaby_ground[] = {
		"",
		"",
		"",
		"             /)",
		"          <.' \\_",
		"            / ( )\\",
		"            __|/  \\__",
		NULL
	};

	/* Wallaby in air (hopped up) */
	const char *wallaby_air[] = {
		"             /)",
		"          <.' \\_",
		"            / ( )\\",
		"            |/  \\",
		"            /     \\",
		"",
		"",
		NULL
	};

	int pos;  /* Horizontal position */
	int i, j;
	int max_pos = 60;  /* Maximum horizontal position */
	int num_hops = 4;  /* Number of complete hops */
	bool in_air = false;

	shell_print(sh, "\n");

	for (i = 0; i < num_hops; i++) {
		/* Each hop moves the wallaby forward */
		for (pos = max_pos; pos > 0; pos -= 4) {
			/* Clear screen and move cursor to home position */
			shell_print(sh, "\033[2J\033[H");

			/* Alternate between air and ground every few steps */
			if ((pos / 8) % 2 == 0) {
				in_air = false;
			} else {
				in_air = true;
			}

			const char **current_frame = in_air ? wallaby_air : wallaby_ground;

			/* Print the frame with horizontal offset */
			for (j = 0; current_frame[j] != NULL; j++) {
					shell_print(sh, "%*s%s", pos, "", current_frame[j]);
			}
			shell_print(sh, "----------------------------------------------------------------------------------");

			k_msleep(120);  /* Animation speed */
		}
	}

	shell_print(sh, "\n");

	return 0;
}

SHELL_CMD_REGISTER(hop, NULL, "Make the wallaby hop across the screen.", cmd_hop);

int main(void)
{
	print_banner();

	LOG_DBG("RTC init");
	if (rtc_init() < 0) {
		LOG_ERR("RTC init failed");
		return -1;
	}

	LOG_DBG("VPD init");
	if (vpd_init() < 0) {
		LOG_ERR("VPD init failed");
		return -1;
	}

	LOG_DBG("Filesystem init");
	if (fs_init() < 0) {
		LOG_ERR("Filesystem init failed, continuing without persistent storage");
	}

	LOG_DBG("Config init");
	if (config_init() < 0) {
		LOG_ERR("Config init failed");
		return -1;
	}

	LOG_DBG("Button init");
	if (button_init() < 0) {
		LOG_ERR("Button init failed");
		/* Continue */
	}

	LOG_DBG("Network init");
	if (net_init() < 0) {
		LOG_ERR("Network init failed");
		return -1;
	}

	LOG_DBG("Power init");
	if (power_init() < 0) {
		LOG_ERR("Power init failed");
		return -1;
	}

	LOG_DBG("Fan init");
	if (fan_init() < 0) {
		LOG_ERR("Fan init failed");
		/* Continue */
	}

	LOG_DBG("Reset init");
	if (reset_init() < 0) {
		LOG_ERR("Reset init failed");
		return -1;
	}

	LOG_DBG("LED init");
	if (status_led_init() < 0) {
		LOG_ERR("LED init failed");
		return -1;
	}

	LOG_DBG("JTAG init");
	if (jtag_init() < 0) {
		LOG_ERR("JTAG init failed");
		return -1;
	}

	LOG_DBG("HTTP server init");
	if (app_http_server_init() < 0) {
		LOG_ERR("HTTP server init failed");
		return -1;
	}

	LOG_DBG("Console logger init");
	if (console_logger_init() < 0) {
		LOG_ERR("Console logger init failed");
		return -1;
	}

	LOG_DBG("Console bridge init");
	if (console_bridge_init() < 0) {
		LOG_ERR("Console bridge init failed");
		return -1;
	}

	LOG_DBG("Console bridge WS init");
	if (console_bridge_ws_init() < 0) {
		LOG_ERR("Console bridge WS init failed");
		return -1;
	}

	boot_finished = true;

	LOG_INF("BMC boot complete");

	return 0;
}
```

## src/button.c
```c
/*
 * Copyright (c) 2016 Open-RnD Sp. z o.o.
 * Copyright (c) 2020 Nordic Semiconductor ASA
 *
 * SPDX-FileCopyrightText: © 2025-2026 Tenstorrent USA, Inc.
 * SPDX-License-Identifier: Apache-2.0
 */
#include <zephyr/logging/log.h>
LOG_MODULE_REGISTER(wallabmc_button, LOG_LEVEL_INF);

#include <zephyr/kernel.h>
#include <zephyr/device.h>
#include <zephyr/drivers/gpio.h>
#include <zephyr/sys/util.h>
#include <inttypes.h>

#include "button.h"
#include "main.h"
#include "config.h"

#define USER_BUTTON_NODE	DT_ALIAS(reset_button)
#if DT_NODE_HAS_STATUS_OKAY(USER_BUTTON_NODE)

static const struct gpio_dt_spec button = GPIO_DT_SPEC_GET_OR(USER_BUTTON_NODE, gpios,
							      {0});

static void reset_work_fn(struct k_work *work)
{
	int val = gpio_pin_get_dt(&button);
	int rc;

	if (val != 1)
		return;

	LOG_INF("Button held, rebooting.");

	rc = config_clear();
	if (rc) {
		LOG_ERR("Error: could not clear config");
		return;
	}

	bmc_reboot();
}

static K_WORK_DELAYABLE_DEFINE(reset_work, reset_work_fn);

#define RESET_HOLD_TIME_MS 10000

static void button_work_fn(struct k_work *work)
{
	int val = gpio_pin_get_dt(&button);
	if (val == 1) {
		/* Pressed */
		LOG_INF("Recovery button pressed, hold for %d seconds to factory reset",
			RESET_HOLD_TIME_MS / 1000);
		k_work_schedule(&reset_work, K_MSEC(RESET_HOLD_TIME_MS));
	} else if (val == 0) {
		/* Released before timeout */
		k_work_cancel_delayable(&reset_work);
	}
}

static K_WORK_DELAYABLE_DEFINE(button_work, button_work_fn);

#define DEBOUNCE_TIME_MS 1

static struct gpio_callback button_cb_data;

static void button_pressed(const struct device *dev,
			   struct gpio_callback *cb, uint32_t pins)
{
	k_work_schedule(&button_work, K_MSEC(DEBOUNCE_TIME_MS));
}

int button_init(void)
{
	int ret;

	if (!gpio_is_ready_dt(&button)) {
		LOG_ERR("Error: button device %s is not ready",
			button.port->name);
		return -ENOSYS;
	}

	ret = gpio_pin_configure_dt(&button, GPIO_INPUT);
	if (ret != 0) {
		LOG_ERR("Error: button device %s failed to configure pin %d (err=%d)",
			button.port->name, button.pin, ret);
		return ret;
	}

	/* Interrupt on press and release */
	ret = gpio_pin_interrupt_configure_dt(&button, GPIO_INT_EDGE_BOTH);
	if (ret != 0) {
		LOG_ERR("Error: button device %s failed to configure interrupt on pin %d (err=%d)",
			button.port->name, button.pin, ret);
		return ret;
	}

	gpio_init_callback(&button_cb_data, button_pressed, BIT(button.pin));
	gpio_add_callback(button.port, &button_cb_data);

	LOG_INF("Button device initialised");

	return 0;
}
#else
int button_init(void)
{
	LOG_INF("Button device not defined for this board");
	return 0;
}
#endif
```

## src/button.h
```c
/*
 * SPDX-FileCopyrightText: © 2025-2026 Tenstorrent AI ULC
 * SPDX-License-Identifier: Apache-2.0
 */
#ifndef __BUTTON_H__
#define __BUTTON_H__
#ifdef CONFIG_PERSISTENT_STORAGE
int button_init(void);
#else
static inline int button_init(void) { return 0; }
#endif
#endif
```

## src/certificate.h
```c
/*
 * Copyright (c) 2023 Nordic Semiconductor ASA
 *
 * SPDX-FileCopyrightText: © 2025-2026 Tenstorrent AI ULC
 * SPDX-License-Identifier: Apache-2.0
 */

#ifndef __CERTIFICATE_H__
#define __CERTIFICATE_H__

#if defined(CONFIG_APP_HTTPS_PUBLIC_KEY)
static const unsigned char server_certificate[] = {
#include "server_cert.der.inc"
};

/* This is the private key in pkcs#8 format. */
static const unsigned char private_key[] = {
#include "server_privkey.der.inc"
};
#endif

#endif /* __CERTIFICATE_H__ */
```

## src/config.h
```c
/*
 * SPDX-FileCopyrightText: © 2025-2026 Tenstorrent AI ULC
 * SPDX-License-Identifier: Apache-2.0
 */
#ifndef __CONFIG_H__
#define __CONFIG_H__

int config_init(void);
int config_clear(void);
const char *config_bmc_hostname(void);
int config_bmc_hostname_set(const char *hostname);
int config_bmc_password_set(const char *password);
bool config_bmc_use_ntp(void);
int config_bmc_use_ntp_set(bool use);
const char *config_bmc_ntp_server(void);
int config_bmc_ntp_server_set(const char *server);
uint32_t config_bmc_default_ip4(void);
int config_bmc_default_ip4_set(const char *str);
uint32_t config_bmc_default_ip4_nm(void);
int config_bmc_default_ip4_nm_set(const char *str);
uint32_t config_bmc_default_ip4_gw(void);
int config_bmc_default_ip4_gw_set(const char *str);
bool config_bmc_use_dhcp4(void);
int config_bmc_use_dhcp4_set(bool use);
bool config_host_auto_poweron(void);
int config_host_auto_poweron_set(bool on);
const char *config_bmc_admin_password(void);
bool config_bmc_https_psk(const char **psk, int *psk_len);
#endif
```

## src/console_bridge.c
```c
/*
 * SPDX-FileCopyrightText: © 2025-2026 Tenstorrent AI ULC
 * SPDX-License-Identifier: Apache-2.0
 */

 #include <zephyr/kernel.h>

#include <zephyr/logging/log.h>
LOG_MODULE_REGISTER(console_bridge, LOG_LEVEL_INF);

#include <zephyr/posix/fcntl.h>
#include <zephyr/net/socket.h>
#include <errno.h>
#include <unistd.h>
#include <sys/socket.h>
#include <string.h>

#include "console_logger.h"
#include "synch.h"

#define CONSOLE_BRIDGE_PORT 22
#define CONSOLE_BRIDGE_STACK_SIZE K_THREAD_STACK_SIZEOF(console_bridge_stack_area)
#define CONSOLE_BRIDGE_PRIORITY   CONFIG_CONSOLE_BRIDGE_PRIORITY

K_THREAD_STACK_DEFINE(console_bridge_stack_area, CONFIG_CONSOLE_BRIDGE_STACK_SIZE);
static struct k_thread console_bridge_thread_data;

K_THREAD_STACK_DEFINE(socket_send_thread_stack_area, CONFIG_CONSOLE_BRIDGE_STACK_SIZE);
static struct k_thread socket_send_thread_data;

static volatile int active_client_fd = -1;
static volatile bool new_client;

static void socket_send_thread(void *a, void *b, void *c)
{
	uint64_t pos = 0;
	uint8_t buf[64];

	while (1) {
		ssize_t ret;

		if (active_client_fd == -1) {
			k_event_wait_safe(&events, EVENT_TELNET_CLIENT, false, K_FOREVER);
			continue;
		}

		if (new_client) {
			/*
			 * Whereas websocket clients get all history, telnet
			 * clients only send subsequent console output.
			 */
			host_console_seek_end(&pos);
			new_client = false;
		}

		ret = host_console_read(buf, sizeof(buf), &pos);
		if (ret < 0)
			continue;
		if (ret == 0) {
			k_event_wait_safe(&events,
					EVENT_TELNET_CLIENT |
					EVENT_CONSOLE_LOG_DATA,
					false, K_FOREVER);
			continue;
		}

		if (active_client_fd == -1)
			continue;

		ret = send(active_client_fd, buf, ret, 0);
		if (ret <= 0) {
			LOG_WRN("Socket send error: %d len: %zd", errno, ret);
			shutdown(active_client_fd, 2);
			active_client_fd = -1;
		}
	}
}

static void handle_client(int client_fd)
{
	/*
	 * Improve performance by enabling TCP_NODELAY (ie disabling Nagle)
	 */
	int opt = 1;
	if (setsockopt(client_fd, IPPROTO_TCP, TCP_NODELAY, &opt, sizeof(opt)) < 0) {
		LOG_WRN("Failed to set TCP_NODELAY: %d", errno);
	}

	LOG_INF("Client connected to console bridge (host console UART -> TCP port %d)",
		CONSOLE_BRIDGE_PORT);

	/* Set active client */
	active_client_fd = client_fd;
	new_client = true;
	k_event_post(&events, EVENT_TELNET_CLIENT);

	uint8_t socket_buf[64];

	while (active_client_fd != -1) {
		ssize_t rc = recv(active_client_fd, socket_buf, sizeof(socket_buf), 0);
		if (rc <= 0) {
			if (rc == 0) {
				LOG_INF("Client disconnected gracefully");
			} else {
				LOG_WRN("Socket recv() error: %d", errno);
			}
			shutdown(active_client_fd, 2);
			active_client_fd = -1;
			break;
		}

		/* XXX: error handling */
		host_console_write(socket_buf, rc);
	}

	LOG_INF("Console bridge client disconnected");
}

static void console_bridge_daemon_thread(void *a, void *b, void *c)
{
	int server_fd;
	struct sockaddr_in server_addr;
	int opt;

	server_fd = socket(AF_INET, SOCK_STREAM, IPPROTO_TCP);
	if (server_fd < 0) {
		LOG_ERR("socket() failed: %d", errno);
		return;
	}

	/* Set SO_REUSEADDR to allow rebinding */
	opt = 1;
	if (setsockopt(server_fd, SOL_SOCKET, SO_REUSEADDR, &opt, sizeof(opt)) < 0) {
		LOG_WRN("Failed to set SO_REUSEADDR: %d", errno);
	}

	memset(&server_addr, 0, sizeof(server_addr));
	server_addr.sin_family = AF_INET;
	server_addr.sin_port = htons(CONSOLE_BRIDGE_PORT);
	server_addr.sin_addr.s_addr = INADDR_ANY;

	if (bind(server_fd, (struct sockaddr *)&server_addr, sizeof(server_addr)) < 0) {
		LOG_ERR("bind() failed: %d", errno);
		close(server_fd);
		return;
	}

	if (listen(server_fd, 1) < 0) {
		LOG_ERR("listen() failed: %d", errno);
		close(server_fd);
		return;
	}

	LOG_INF("Console bridge daemon listening on port %d...", CONSOLE_BRIDGE_PORT);

	while (1) {
		struct sockaddr_in client_addr;
		socklen_t client_addr_len = sizeof(client_addr);
		int client_fd;

		client_fd = accept(server_fd, (struct sockaddr *)&client_addr,
				   &client_addr_len);
		if (client_fd < 0) {
			LOG_ERR("accept() failed: %d", errno);
			continue;
		}

		handle_client(client_fd);

		close(client_fd);
		LOG_INF("Client disconnected. Waiting for new connection...");
	}

	/* Unreachable */
	close(server_fd);
}

int console_bridge_init(void)
{
	LOG_INF("Starting console bridge daemon (host console UART -> TCP port %d)...", CONSOLE_BRIDGE_PORT);

	k_thread_create(&console_bridge_thread_data, console_bridge_stack_area,
			CONSOLE_BRIDGE_STACK_SIZE,
			console_bridge_daemon_thread,
			NULL, NULL, NULL,
			CONSOLE_BRIDGE_PRIORITY, 0, K_NO_WAIT);

	k_thread_name_set(&console_bridge_thread_data, "console_bridge");

	k_thread_create(&socket_send_thread_data, socket_send_thread_stack_area,
			CONFIG_CONSOLE_BRIDGE_STACK_SIZE,
			socket_send_thread,
			NULL, NULL, NULL,
			CONSOLE_BRIDGE_PRIORITY, 0, K_NO_WAIT);

	k_thread_name_set(&socket_send_thread_data, "socket_send");

	return 0;
}
```

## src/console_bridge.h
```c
/*
 * SPDX-FileCopyrightText: © 2025-2026 Tenstorrent AI ULC
 * SPDX-License-Identifier: Apache-2.0
 */

#ifdef CONFIG_CONSOLE_BRIDGE
int console_bridge_init(void);
#else
static inline int console_bridge_init(void) { return 0; }
#endif
```

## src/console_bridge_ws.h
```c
/*
 * SPDX-FileCopyrightText: © 2025-2026 Tenstorrent AI ULC
 * SPDX-License-Identifier: Apache-2.0
 */

#ifdef CONFIG_APP_WEB_TERMINAL_HOST_SERIAL
int console_bridge_ws_init(void);
#else
static inline int console_bridge_ws_init(void) { return 0; }
#endif
```

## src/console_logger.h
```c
/*
 * SPDX-FileCopyrightText: © 2025-2026 Tenstorrent AI ULC
 * SPDX-License-Identifier: Apache-2.0
 */

#ifdef CONFIG_APP_CONSOLE_LOGGER
int console_logger_init(void);
ssize_t host_console_read(uint8_t *buf, size_t size, uint64_t *ppos);
int host_console_seek_end(uint64_t *ppos);
ssize_t host_console_write(const uint8_t *buf, size_t size);
#else
static inline int console_logger_init(void) { return 0; }
#endif
```
